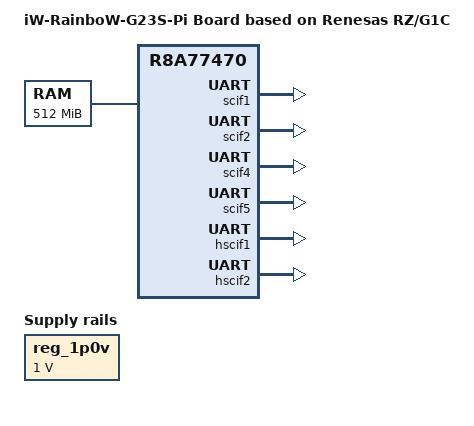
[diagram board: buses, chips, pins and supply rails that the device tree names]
/*
 * Device Tree Source for the iwg23s-Pi boards
 *
 * Copyright (c) 2016 iWave Systems Technologies Pvt. Ltd.
 *
 * This file is licensed under the terms of the GNU General Public License
 * version 2.  This program is licensed "as is" without any warranty of any
 * kind, whether express or implied.
 */

/dts-v1/;
#include "r8a77470.dtsi"
/ {
	model = "iW-RainboW-G23S-Pi Board based on Renesas RZ/G1C";
	compatible = "iw,iwg23s", "renesas,r8a77470";

	aliases {
		serial1 = &scif1;
		serial2 = &scif2;
		serial3 = &scif4;
		serial4 = &scif5;
		serial5 = &hscif1;
		serial6 = &hscif2;
	};

	memory@40000000 {
		device_type = "memory";
		reg = <0 0x40000000 0 0x20000000>;
	};

	reg_1p0v: 1p0v {
		compatible = "regulator-fixed";
		regulator-name = "1P0V";
		regulator-min-microvolt = <1000000>;
		regulator-max-microvolt = <1000000>;
		regulator-boot-on;
		regulator-always-on;
	};
};

&cpu0 {
		cpu0-supply = <&reg_1p0v>;
};

&extal_clk {
	clock-frequency = <20000000>;
};

&pfc {
	scif1_pins: serial1 {
		renesas,groups = "scif1_data_b";
		renesas,function = "scif1";
	};

	scif2_pins: serial2 {
		renesas,groups = "scif2_data_b";
		renesas,function = "scif2";
	};

	scif4_pins: serial3 {
		renesas,groups = "scif4_data_b";
		renesas,function = "scif4";
	};

	scif5_pins: serial4 {
		renesas,groups = "scif5_data_b";
		renesas,function = "scif5";
	};

	hscif1_pins: serial5 {
		renesas,groups = "hscif1_data", "hscif1_ctrl_a";
		renesas,function = "hscif1";
	};

	hscif2_pins: serial6 {
		renesas,groups = "hscif2_data", "hscif2_clk", "hscif2_ctrl";
		renesas,function = "hscif2";
	};
};

&scif1 {
	pinctrl-0 = <&scif1_pins>;
	pinctrl-names = "default";
	status = "okay";
};

&scif2 {
	pinctrl-0 = <&scif2_pins>;
	pinctrl-names = "default";
	status = "okay";
};

&scif4 {
	pinctrl-0 = <&scif4_pins>;
	pinctrl-names = "default";
	status = "okay";
};

&scif5 {
	pinctrl-0 = <&scif5_pins>;
	pinctrl-names = "default";
	status = "okay";
};

&hscif1 {
	pinctrl-0 = <&hscif1_pins>;
	pinctrl-names = "default";
	ctsrts;
	status = "okay";
};

&hscif2 {
	pinctrl-0 = <&hscif2_pins>;
	pinctrl-names = "default";
	ctsrts;
	status = "okay";
};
